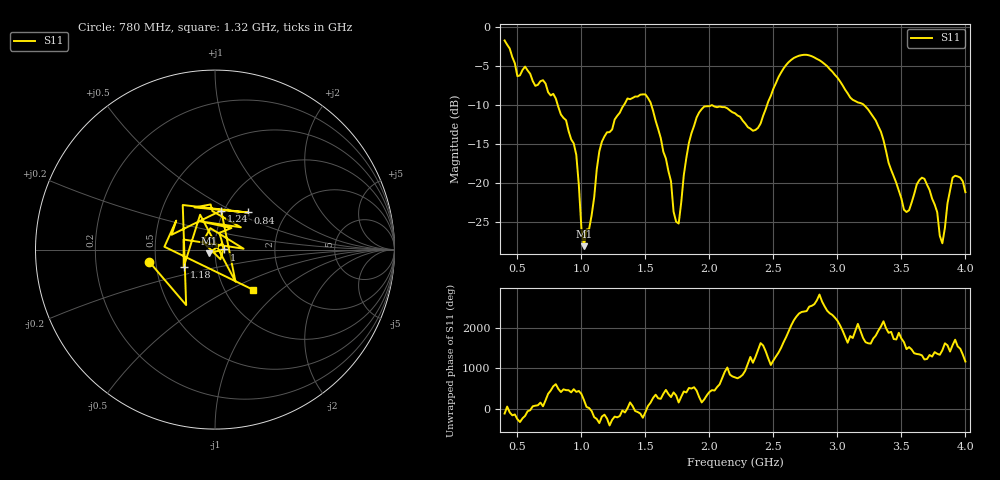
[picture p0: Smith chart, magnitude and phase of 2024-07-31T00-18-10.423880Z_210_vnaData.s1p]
!Created with skrf (http://scikit-rf.org).
# Hz S RI R 50.0
!freq ReS11 ImS11
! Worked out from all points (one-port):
!   181 points, 400 MHz to 4 GHz, reference 50 ohm
!   lowest |S11| = -28.2 dB at 1.02 GHz (marker M1), VSWR 1.08, Z = 46.7 - j1.85 ohm
!   |S11| at or under -10 dB: 815.2 MHz to 1.332 GHz (516.5 MHz wide, 48.1 % of centre); 1.546 GHz to 2.451 GHz (904.2 MHz wide, 45.2 % of centre); 3.208 GHz to end of sweep
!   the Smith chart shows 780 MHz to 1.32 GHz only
!   S11 on the Smith chart (normalised r, x): 780 MHz: 0.46, -0.07; 840 MHz: 1.30, +0.58; 1 GHz: 1.11, +0.00; 1.18 GHz: 0.69, -0.14; 1.24 GHz: 0.97, +0.44; 1.32 GHz: 1.35, -0.66
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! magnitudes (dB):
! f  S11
! 400 MHz  -1.7
! 500 MHz  -6.3
! 560 MHz  -5.0
! 780 MHz  -8.6
! 840 MHz  -11.2
! 860 MHz  -11.7
! 960 MHz  -16.4
! 1 GHz  -25.9
! 1.02 GHz  -28.2
! 1.18 GHz  -14.0
! 1.24 GHz  -13.1
! 1.3 GHz  -11.0
! 1.32 GHz  -10.3
! 1.54 GHz  -9.7
! 1.76 GHz  -25.2
! 1.84 GHz  -14.9
! 1.92 GHz  -10.9
! 2.2 GHz  -11.1
! 2.38 GHz  -12.9
! 2.66 GHz  -3.9
! 2.88 GHz  -4.5
! 3.1 GHz  -9.0
! 3.3 GHz  -12.0
! 3.56 GHz  -23.5
! 3.68 GHz  -19.5
! 3.82 GHz  -27.8
! 3.9 GHz  -19.3
! 4 GHz  -21.2
